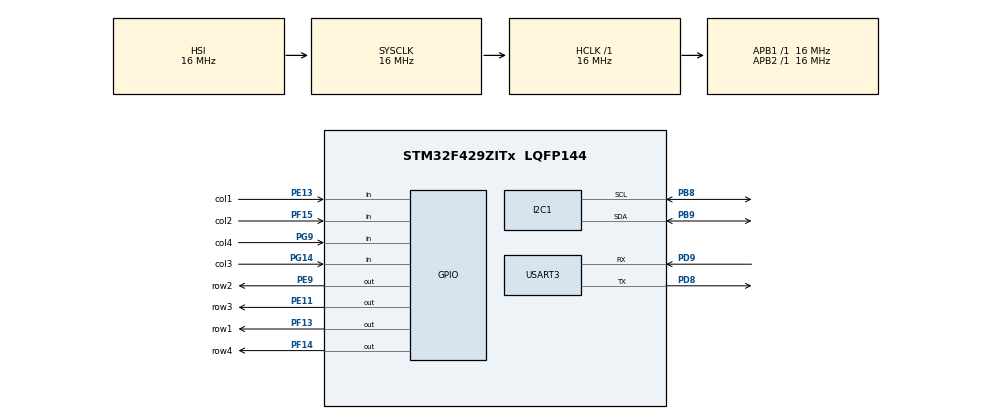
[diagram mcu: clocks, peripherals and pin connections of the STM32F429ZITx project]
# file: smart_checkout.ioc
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Mcu.Family=STM32F4
Mcu.Name=STM32F429ZITx
Mcu.Package=LQFP144
NVIC.PriorityGroup=NVIC_PRIORITYGROUP_4
NVIC.USART3_IRQn=true\:0\:0\:false\:false\:true\:true\:true\:true
PA13.Mode=Serial_Wire
PA13.Signal=SYS_JTMS-SWDIO
PA14.Mode=Serial_Wire
PA14.Signal=SYS_JTCK-SWCLK
PB8.Mode=I2C
PB8.Signal=I2C1_SCL
PB9.Mode=I2C
PB9.Signal=I2C1_SDA
PC14/OSC32_IN.Mode=LSE-External-Oscillator
PC14/OSC32_IN.Signal=RCC_OSC32_IN
PC15/OSC32_OUT.Mode=LSE-External-Oscillator
PC15/OSC32_OUT.Signal=RCC_OSC32_OUT
PD8.Mode=Asynchronous
PD8.Signal=USART3_TX
PD9.Mode=Asynchronous
PD9.Signal=USART3_RX
PE11.GPIO_Label=row3
PE11.Signal=GPIO_Output
PE13.GPIO_Label=col1
PE13.GPIO_PuPd=GPIO_PULLUP
PE13.Signal=GPIO_Input
PE9.GPIO_Label=row2
PE9.Signal=GPIO_Output
PF13.GPIO_Label=row1
PF13.Signal=GPIO_Output
PF14.GPIO_Label=row4
PF14.Signal=GPIO_Output
PF15.GPIO_Label=col2
PF15.GPIO_PuPd=GPIO_PULLUP
PF15.Signal=GPIO_Input
PG14.GPIO_Label=col3
PG14.GPIO_PuPd=GPIO_PULLUP
PG14.Signal=GPIO_Input
PG9.GPIO_Label=col4
PG9.GPIO_PuPd=GPIO_PULLUP
PG9.Signal=GPIO_Input
PH0/OSC_IN.Mode=HSE-External-Oscillator
PH0/OSC_IN.Signal=RCC_OSC_IN
PH1/OSC_OUT.Mode=HSE-External-Oscillator
PH1/OSC_OUT.Signal=RCC_OSC_OUT
ProjectManager.HeapSize=0x200
ProjectManager.StackSize=0x400
ProjectManager.TargetToolchain=STM32CubeIDE
RCC.AHBFreq_Value=16000000
RCC.APB1Freq_Value=16000000
RCC.APB2Freq_Value=16000000
RCC.CortexFreq_Value=16000000
RCC.HSE_VALUE=25000000
RCC.HSI_VALUE=16000000
RCC.SYSCLKFreq_VALUE=16000000
RCC.VCOOutputFreq_Value=192000000
USART3.VirtualMode=VM_ASYNC
board=custom

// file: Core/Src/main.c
/* USER CODE BEGIN Header */
/**
  ******************************************************************************
  * @file           : main.c
  * @brief          : Main program body
  ******************************************************************************
  * @attention
  *
  * Copyright (c) 2025 STMicroelectronics.
  * All rights reserved.
  *
  * This software is licensed under terms that can be found in the LICENSE file
  * in the root directory of this software component.
  * If no LICENSE file comes with this software, it is provided AS-IS.
  *
  ******************************************************************************
  */
/* USER CODE END Header */
#include "main.h"

/* USER CODE BEGIN Includes */
#include "string.h"
#include "keypad.h"
#include "stm32f4xx_hal.h"
/* USER CODE END Includes */

I2C_HandleTypeDef hi2c1;

UART_HandleTypeDef huart3;

/* USER CODE BEGIN PV */
#define RX_BUF_SIZE 64
static uint8_t current_line = 0;
uint8_t rx_buf[RX_BUF_SIZE];
uint8_t rx_idx = 0;
/* USER CODE END PV */

void SystemClock_Config(void);
static void MX_GPIO_Init(void);
static void MX_I2C1_Init(void);
static void MX_USART3_UART_Init(void);

int main(void)
{

  /* MCU Configuration--------------------------------------------------------*/

  /* Reset of all peripherals, Initializes the Flash interface and the Systick. */
  HAL_Init();

  /* Configure the system clock */
  SystemClock_Config();

  /* Initialize all configured peripherals */
  MX_GPIO_Init();
  MX_I2C1_Init();
  MX_USART3_UART_Init();
  /* USER CODE BEGIN 2 */
  //lcd

    HD44780_Init(2);
    HD44780_Clear();
    HAL_UART_Receive_IT(&huart3, &rx_buf[rx_idx], 1);

  //keypad

    GPIO_TypeDef* rowPorts[ROW_NUM] = { GPIOF, GPIOE, GPIOE, GPIOF };
    uint16_t rowPins[ROW_NUM] = {row1_Pin, row2_Pin, row3_Pin, row4_Pin};

    GPIO_TypeDef* colPorts[COL_NUM] = { GPIOE, GPIOF, GPIOG, GPIOG };
    uint16_t colPins[COL_NUM] = {col1_Pin, col2_Pin, col3_Pin, col4_Pin};

    Keypad_SetRowPins(rowPorts, rowPins);
    Keypad_SetColPins(colPorts, colPins);
    Keypad_Init();

  /* USER CODE END 2 */

  /* Infinite loop */
  /* USER CODE BEGIN WHILE */
  while (1)
  {
	  char key = Keypad_Scan();
	  if (key) {
	  HAL_UART_Transmit(&huart3, (uint8_t*)&key, 1, 100);
	  }
	  HAL_Delay(100);
    /* USER CODE END WHILE */

  }
}

void SystemClock_Config(void)
{
  RCC_OscInitTypeDef RCC_OscInitStruct = {0};
  RCC_ClkInitTypeDef RCC_ClkInitStruct = {0};

  /** Configure the main internal regulator output voltage
  */
  __HAL_RCC_PWR_CLK_ENABLE();
  __HAL_PWR_VOLTAGESCALING_CONFIG(PWR_REGULATOR_VOLTAGE_SCALE3);

  /** Initializes the RCC Oscillators according to the specified parameters
  * in the RCC_OscInitTypeDef structure.
  */
  RCC_OscInitStruct.OscillatorType = RCC_OSCILLATORTYPE_HSI;
  RCC_OscInitStruct.HSIState = RCC_HSI_ON;
  RCC_OscInitStruct.HSICalibrationValue = RCC_HSICALIBRATION_DEFAULT;
  RCC_OscInitStruct.PLL.PLLState = RCC_PLL_NONE;
  if (HAL_RCC_OscConfig(&RCC_OscInitStruct) != HAL_OK)
  {
    Error_Handler();
  }

  /** Initializes the CPU, AHB and APB buses clocks
  */
  RCC_ClkInitStruct.ClockType = RCC_CLOCKTYPE_HCLK|RCC_CLOCKTYPE_SYSCLK
                              |RCC_CLOCKTYPE_PCLK1|RCC_CLOCKTYPE_PCLK2;
  RCC_ClkInitStruct.SYSCLKSource = RCC_SYSCLKSOURCE_HSI;
  RCC_ClkInitStruct.AHBCLKDivider = RCC_SYSCLK_DIV1;
  RCC_ClkInitStruct.APB1CLKDivider = RCC_HCLK_DIV1;
  RCC_ClkInitStruct.APB2CLKDivider = RCC_HCLK_DIV1;

  if (HAL_RCC_ClockConfig(&RCC_ClkInitStruct, FLASH_LATENCY_0) != HAL_OK)
  {
    Error_Handler();
  }
}

static void MX_I2C1_Init(void)
{

  hi2c1.Instance = I2C1;
  hi2c1.Init.ClockSpeed = 100000;
  hi2c1.Init.DutyCycle = I2C_DUTYCYCLE_2;
  hi2c1.Init.OwnAddress1 = 0;
  hi2c1.Init.AddressingMode = I2C_ADDRESSINGMODE_7BIT;
  hi2c1.Init.DualAddressMode = I2C_DUALADDRESS_DISABLE;
  hi2c1.Init.OwnAddress2 = 0;
  hi2c1.Init.GeneralCallMode = I2C_GENERALCALL_DISABLE;
  hi2c1.Init.NoStretchMode = I2C_NOSTRETCH_DISABLE;
  if (HAL_I2C_Init(&hi2c1) != HAL_OK)
  {
    Error_Handler();
  }

  /** Configure Analogue filter
  */
  if (HAL_I2CEx_ConfigAnalogFilter(&hi2c1, I2C_ANALOGFILTER_ENABLE) != HAL_OK)
  {
    Error_Handler();
  }

  /** Configure Digital filter
  */
  if (HAL_I2CEx_ConfigDigitalFilter(&hi2c1, 0) != HAL_OK)
  {
    Error_Handler();
  }

}

static void MX_USART3_UART_Init(void)
{

  huart3.Instance = USART3;
  huart3.Init.BaudRate = 115200;
  huart3.Init.WordLength = UART_WORDLENGTH_8B;
  huart3.Init.StopBits = UART_STOPBITS_1;
  huart3.Init.Parity = UART_PARITY_NONE;
  huart3.Init.Mode = UART_MODE_TX_RX;
  huart3.Init.HwFlowCtl = UART_HWCONTROL_NONE;
  huart3.Init.OverSampling = UART_OVERSAMPLING_16;
  if (HAL_UART_Init(&huart3) != HAL_OK)
  {
    Error_Handler();
  }

}

static void MX_GPIO_Init(void)
{
  GPIO_InitTypeDef GPIO_InitStruct = {0};

  /* GPIO Ports Clock Enable */
  __HAL_RCC_GPIOC_CLK_ENABLE();
  __HAL_RCC_GPIOH_CLK_ENABLE();
  __HAL_RCC_GPIOF_CLK_ENABLE();
  __HAL_RCC_GPIOE_CLK_ENABLE();
  __HAL_RCC_GPIOD_CLK_ENABLE();
  __HAL_RCC_GPIOA_CLK_ENABLE();
  __HAL_RCC_GPIOG_CLK_ENABLE();
  __HAL_RCC_GPIOB_CLK_ENABLE();

  /*Configure GPIO pin Output Level */
  HAL_GPIO_WritePin(GPIOF, row1_Pin|row4_Pin, GPIO_PIN_RESET);

  /*Configure GPIO pin Output Level */
  HAL_GPIO_WritePin(GPIOE, row2_Pin|row3_Pin, GPIO_PIN_RESET);

  /*Configure GPIO pins : row1_Pin row4_Pin */
  GPIO_InitStruct.Pin = row1_Pin|row4_Pin;
  GPIO_InitStruct.Mode = GPIO_MODE_OUTPUT_PP;
  GPIO_InitStruct.Pull = GPIO_NOPULL;
  GPIO_InitStruct.Speed = GPIO_SPEED_FREQ_LOW;
  HAL_GPIO_Init(GPIOF, &GPIO_InitStruct);

  /*Configure GPIO pin : col2_Pin */
  GPIO_InitStruct.Pin = col2_Pin;
  GPIO_InitStruct.Mode = GPIO_MODE_INPUT;
  GPIO_InitStruct.Pull = GPIO_PULLUP;
  HAL_GPIO_Init(col2_GPIO_Port, &GPIO_InitStruct);

  /*Configure GPIO pins : row2_Pin row3_Pin */
  GPIO_InitStruct.Pin = row2_Pin|row3_Pin;
  GPIO_InitStruct.Mode = GPIO_MODE_OUTPUT_PP;
  GPIO_InitStruct.Pull = GPIO_NOPULL;
  GPIO_InitStruct.Speed = GPIO_SPEED_FREQ_LOW;
  HAL_GPIO_Init(GPIOE, &GPIO_InitStruct);

  /*Configure GPIO pin : col1_Pin */
  GPIO_InitStruct.Pin = col1_Pin;
  GPIO_InitStruct.Mode = GPIO_MODE_INPUT;
  GPIO_InitStruct.Pull = GPIO_PULLUP;
  HAL_GPIO_Init(col1_GPIO_Port, &GPIO_InitStruct);

  /*Configure GPIO pins : col4_Pin col3_Pin */
  GPIO_InitStruct.Pin = col4_Pin|col3_Pin;
  GPIO_InitStruct.Mode = GPIO_MODE_INPUT;
  GPIO_InitStruct.Pull = GPIO_PULLUP;
  HAL_GPIO_Init(GPIOG, &GPIO_InitStruct);

}

/* USER CODE BEGIN 4 */
void HAL_UART_RxCpltCallback(UART_HandleTypeDef *huart) {
    if (huart->Instance != USART3) {
        // re-arm receive for other UARTs if needed
        return;
    }

    uint8_t ch = rx_buf[rx_idx];

    // 忽略回车，只在换行时处理
    if (ch == '\r') {
        HAL_UART_Receive_IT(&huart3, &rx_buf[rx_idx], 1);
        return;
    }

    // 遇到换行或缓冲区已满，视为一条完整命令
    if (ch == '\n' || rx_idx >= RX_BUF_SIZE - 1) {
        rx_buf[rx_idx] = '\0';

        // 清屏命令
        if (strcmp((char*)rx_buf, "CLS") == 0) {
            HD44780_Clear();
        }
        else {
            // 普通文本：交替写入两行
            static uint8_t current_line = 0;
            // 清掉 target 行
            HD44780_SetCursor(0, current_line);
            HD44780_PrintStr("                ");  // 16 空格
            // 回到行首，写入文本
            HD44780_SetCursor(0, current_line);
            HD44780_PrintStr((char*)rx_buf);

            // 切换到下一行
            current_line = 1 - current_line;
        }

        // 重置索引
        rx_idx = 0;
    }
    else {
        // 继续累积字符
        rx_idx++;
    }

    // 重新开启中断接收下一个字节
    HAL_UART_Receive_IT(&huart3, &rx_buf[rx_idx], 1);
}
/* USER CODE END 4 */

void Error_Handler(void)
{
  __disable_irq();
  while (1)
  {
  }
}
